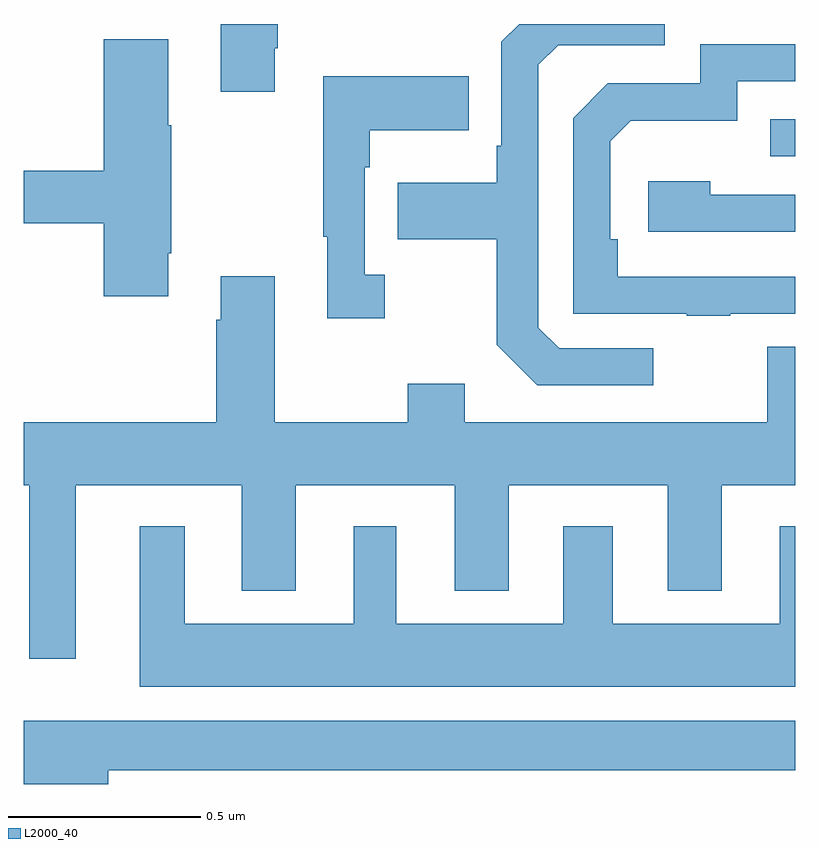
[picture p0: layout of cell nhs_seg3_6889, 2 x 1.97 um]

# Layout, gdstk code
import gdstk
lib = gdstk.Library(unit=1e-6, precision=1e-09)
def R(c, l, rs):  # rectangles x0, y0, x1, y1
    for r in rs: c.add(gdstk.rectangle(r[:2], r[2:], *l))
def P(c, l, *ps):  # polygons
    for p in ps: c.add(gdstk.Polygon(p, *l))
L2000_40 = (2000, 40)

nhs_seg3_6889 = lib.new_cell('nhs_seg3_6889')
R(nhs_seg3_6889, L2000_40, [(197.935,747.057,198,747.153)])
P(nhs_seg3_6889, L2000_40, [(196.511,747.225),(196.651,747.225),(196.651,747.337),(196.659,747.337),(196.659,747.4),(196.511,747.4)],
  [(197.632,746.559),(197.388,746.559),(197.334,746.613),(197.334,747.294),(197.385,747.345),(197.662,747.345),(197.662,747.4),(197.284,747.4),(197.238,747.354),(197.238,747.085),(197.226,747.085),(197.226,746.989),(196.969,746.989),(196.969,746.842),(197.226,746.842),(197.226,746.569),(197.331,746.463),(197.632,746.463)],
  [(196.375,746.806),(196.383,746.806),(196.383,747.137),(196.375,747.137),(196.375,747.361),(196.208,747.361),(196.208,747.02),(196,747.02),(196,746.884),(196.208,746.884),(196.208,746.694),(196.375,746.694)],
  [(197.831,746.649),(198,746.649),(198,746.745),(197.54,746.745),(197.54,746.842),(197.52,746.842),(197.52,747.096),(197.573,747.149),(197.85,747.149),(197.85,747.252),(198,747.252),(198,747.348),(197.754,747.348),(197.754,747.246),(197.514,747.246),(197.424,747.156),(197.424,746.649),(197.719,746.649),(197.719,746.644),(197.831,746.644)],
  [(196.936,746.75),(196.884,746.75),(196.884,747.029),(196.897,747.029),(196.897,747.125),(197.153,747.125),(197.153,747.265),(196.776,747.265),(196.776,746.849),(196.787,746.849),(196.787,746.637),(196.936,746.637)],
  [(198,746.958),(197.78,746.958),(197.78,746.992),(197.619,746.992),(197.619,746.862),(198,746.862)],
  [(196.135,746.204),(196.565,746.204),(196.565,745.931),(196.705,745.931),(196.705,746.204),(197.117,746.204),(197.117,745.931),(197.257,745.931),(197.257,746.204),(197.669,746.204),(197.669,745.931),(197.809,745.931),(197.809,746.204),(198,746.204),(198,746.563),(197.927,746.563),(197.927,746.368),(197.143,746.368),(197.143,746.467),(196.996,746.467),(196.996,746.368),(196.651,746.368),(196.651,746.746),(196.511,746.746),(196.511,746.633),(196.499,746.633),(196.499,746.368),(196,746.368),(196,746.204),(196.014,746.204),(196.014,745.755),(196.135,745.755)],
  [(198,746.098),(197.96,746.098),(197.96,745.846),(197.527,745.846),(197.527,746.098),(197.399,746.098),(197.399,745.846),(196.966,745.846),(196.966,746.098),(196.856,746.098),(196.856,745.846),(196.417,745.846),(196.417,746.098),(196.301,746.098),(196.301,745.682),(198,745.682)],
  [(196.219,745.466),(198,745.466),(198,745.594),(196,745.594),(196,745.43),(196.219,745.43)])

lib.write_gds('nhs_seg3_6889.gds')
